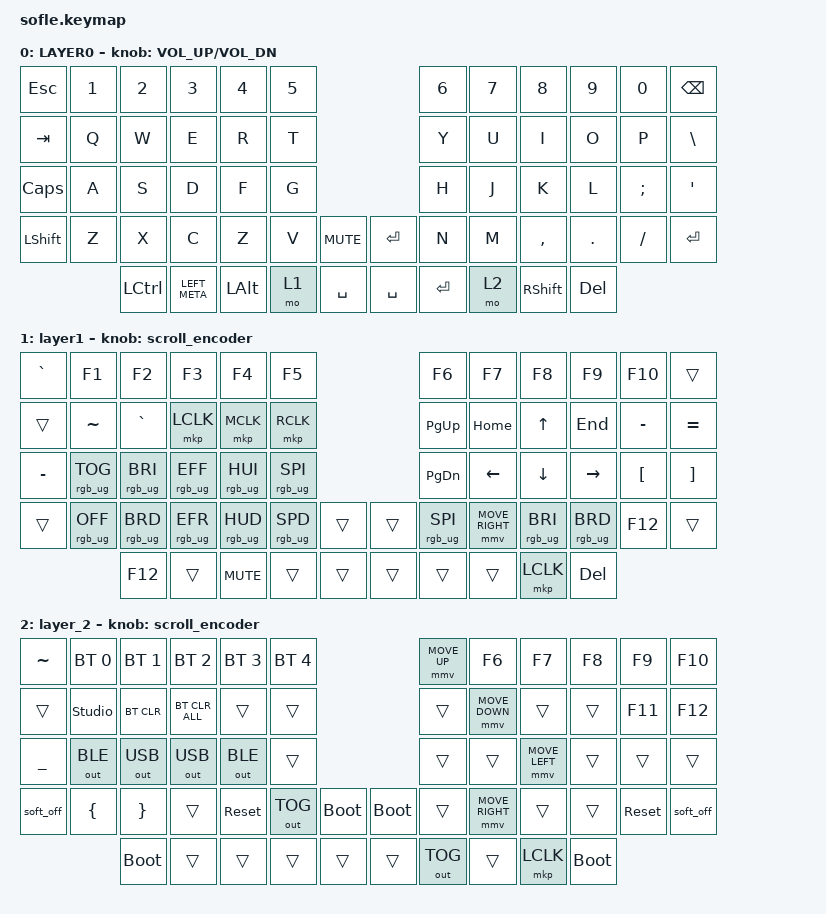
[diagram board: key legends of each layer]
#include <dt-bindings/zmk/mouse.h>
#include <input/processors.dtsi>
#include <behaviors.dtsi>
#include <dt-bindings/zmk/bt.h>
#include <dt-bindings/zmk/keys.h>
#include <dt-bindings/zmk/outputs.h>
#include <dt-bindings/zmk/pointing.h>
#include <dt-bindings/zmk/rgb.h>

/*

   &mmv_input_listener {
       input-processors = <&zip_xy_scaler 2 1>;
   };

   &msc_input_listener {
       input-processors = <&zip_xy_scaler 2 1>;
   };

 */

#define ZMK_MOUSE_DEFAULT_MOVE_VAL 1200  // 600
#define ZMK_MOUSE_DEFAULT_SCRL_VAL 20    // 10

/ {
    behaviors {
        mmv {
            acceleration-exponent = <1>;      // 1
            time-to-max-speed-ms = <900>;    // 40
            delay-ms = <0>;                   // 0
        };

        msc {
            acceleration-exponent = <1>;      // 0
            time-to-max-speed-ms = <400>;      // 500
            delay-ms = <0>;                   //   10
        };
    };

    scroll_encoder: scroll_encoder {
        compatible = "zmk,behavior-sensor-rotate";
        #sensor-binding-cells = <0>;
        bindings = <&msc SCRL_DOWN>, <&msc SCRL_UP>;

        tap-ms = <30>;
    };

    keymap {
        compatible = "zmk,keymap";

        layer0 {
            bindings = <
&kp ESC         &kp N1  &kp N2            &kp N3         &kp N4        &kp N5                           &kp NUMBER_6  &kp N7  &kp N8           &kp N9      &kp NUMBER_0   &kp BACKSPACE
&kp TAB         &kp Q   &kp W             &kp E          &kp R         &kp T                            &kp Y         &kp U   &kp I            &kp O       &kp P          &kp BSLH
&kp CAPSLOCK    &kp A   &kp S             &kp D          &kp F         &kp G                            &kp H         &kp J   &kp K            &kp L       &kp SEMICOLON  &kp SQT
&kp LEFT_SHIFT  &kp Z   &kp X             &kp C          &kp Z         &kp V   &kp K_MUTE    &kp RET    &kp N         &kp M   &kp COMMA        &kp PERIOD  &kp SLASH      &kp RET
                        &kp LEFT_CONTROL  &kp LEFT_META  &kp LEFT_ALT  &mo 1   &kp SPACE     &kp SPACE  &kp RET       &mo 2   &kp RIGHT_SHIFT  &kp DEL
            >;

            sensor-bindings = <&inc_dec_kp C_VOLUME_UP C_VOL_DN>;
            display-name = "LAYER0";
        };

        layer_1 {
            bindings = <
&kp GRAVE  &kp F1           &kp F2           &kp F3           &kp F4           &kp F5                             &kp F6           &kp F7           &kp F8           &kp F9           &kp F10           &trans
&trans     &kp TILDE        &kp GRAVE        &mkp LCLK        &mkp MCLK        &mkp RCLK                          &kp PAGE_UP      &kp HOME         &kp UP_ARROW     &kp END          &kp MINUS         &kp EQUAL
&kp MINUS  &rgb_ug RGB_TOG  &rgb_ug RGB_BRI  &rgb_ug RGB_EFF  &rgb_ug RGB_HUI  &rgb_ug RGB_SPI                    &kp PAGE_DOWN    &kp LEFT_ARROW   &kp DOWN         &kp RIGHT        &kp LEFT_BRACKET  &kp RIGHT_BRACKET
&trans     &rgb_ug RGB_OFF  &rgb_ug RGB_BRD  &rgb_ug RGB_EFR  &rgb_ug RGB_HUD  &rgb_ug RGB_SPD  &trans    &trans  &rgb_ug RGB_SPI  &mmv MOVE_RIGHT  &rgb_ug RGB_BRI  &rgb_ug RGB_BRD  &kp F12           &trans
                            &kp F12          &trans           &kp C_MUTE       &trans           &trans    &trans  &trans           &trans           &mkp LCLK        &kp DEL
            >;

            display-name = "layer1";
            sensor-bindings = <&scroll_encoder>;
        };

        layer_2 {
            bindings = <
&kp TILDE  &bt BT_SEL 0    &bt BT_SEL 1  &bt BT_SEL 2    &bt BT_SEL 3  &bt BT_SEL 4                              &mmv MOVE_UP  &kp F6           &kp F7          &kp F8       &kp F9      &kp F10
&trans     &studio_unlock  &bt BT_CLR    &bt BT_CLR_ALL  &trans        &trans                                    &trans        &mmv MOVE_DOWN   &trans          &trans       &kp F11     &kp F12
&kp UNDER  &out OUT_BLE    &out OUT_USB  &out OUT_USB    &out OUT_BLE  &trans                                    &trans        &trans           &mmv MOVE_LEFT  &trans       &trans      &trans
&soft_off  &kp LBRC        &kp RBRC      &trans          &sys_reset    &out OUT_TOG  &bootloader    &bootloader  &trans        &mmv MOVE_RIGHT  &trans          &trans       &sys_reset  &soft_off
                           &bootloader   &trans          &trans        &trans        &trans         &trans       &out OUT_TOG  &trans           &mkp LCLK       &bootloader
            >;

            sensor-bindings = <&scroll_encoder>;
        };
    };
};
